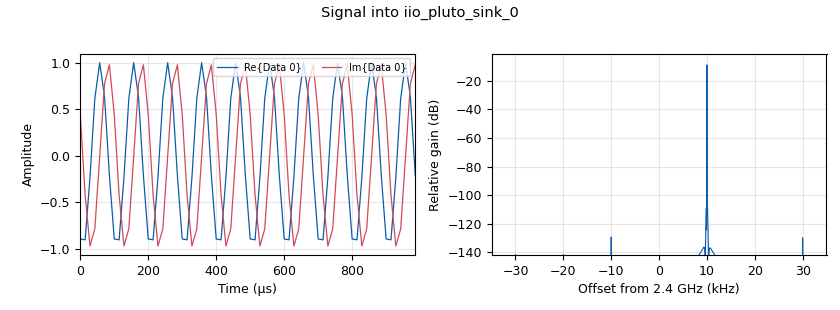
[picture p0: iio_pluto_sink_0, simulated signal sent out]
options:
  parameters:
    generate_options: qt_gui
    id: Example1
    output_language: python
    title: Not titled yet
  states: {}

blocks:
- name: LOFreq
  id: variable
  parameters:
    value: '2400000000'
  states: {}
- name: samp_rate
  id: variable
  parameters:
    value: '70000'
  states: {}
- name: analog_sig_source_x_0
  id: analog_sig_source_x
  parameters:
    amp: '1'
    freq: '10000'
    offset: '0'
    phase: '0'
    samp_rate: samp_rate
    type: complex
    waveform: analog.GR_COS_WAVE
  states: {}
- name: iio_pluto_sink_0
  id: iio_pluto_sink
  parameters:
    attenuation1: '10.0'
    bandwidth: '20000000'
    buffer_size: '32768'
    cyclic: 'True'
    filter_source: '''Auto'''
    frequency: LOFreq
    samplerate: samp_rate
    type: fc32
    uri: 192.168.2.1
  states: {}
- name: iio_pluto_source_0
  id: iio_pluto_source
  parameters:
    bandwidth: '20000000'
    bbdc: 'True'
    buffer_size: '32768'
    filter_source: '''Auto'''
    frequency: LOFreq
    gain1: '''slow_attack'''
    quadrature: 'True'
    rfdc: 'True'
    samplerate: samp_rate
    type: fc32
    uri: 192.168.2.1
  states: {}
- name: qtgui_sink_x_0
  id: qtgui_sink_x
  parameters:
    bw: samp_rate
    fc: '0'
    fftsize: '2048'
    name: ''
    plotconst: 'False'
    plotwaterfall: 'False'
    type: complex
  states: {}

connections:
- [analog_sig_source_x_0, '0', iio_pluto_sink_0, '0']
- [iio_pluto_source_0, '0', qtgui_sink_x_0, '0']

metadata:
  file_format: 1
  grc_version: 3.10.10.0
